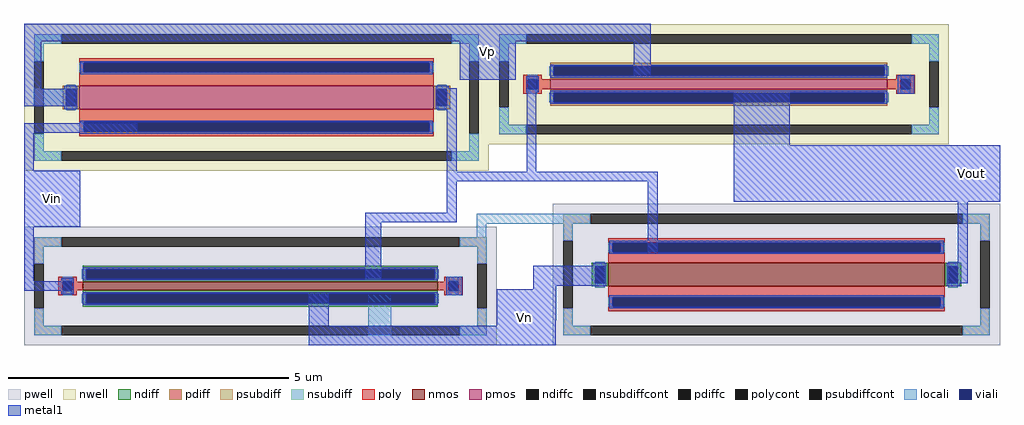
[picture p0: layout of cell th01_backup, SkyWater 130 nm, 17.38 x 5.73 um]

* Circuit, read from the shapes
.subckt th01_backup Vp Vin Vout Vn
XM1 n1 Vin Vn Vn sky130_fd_pr__nfet_01v8 w=6.32 l=0.15
XM2 Vout n1 Vn Vn sky130_fd_pr__nfet_01v8 w=0.42 l=6
XM3 n1 Vin Vp Vp sky130_fd_pr__pfet_01v8 w=0.42 l=6.32
XM4 Vp n1 Vout Vp sky130_fd_pr__pfet_01v8 w=6 l=0.18
.ends

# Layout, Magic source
magic
tech sky130A
magscale 1 2
<< locali >>
rect 488 -334 638 -272
rect 2067 -752 2415 -718
rect 2067 -823 2101 -752
rect 1680 -1150 1762 -1002
<< metal1 >>
rect 2006 -41 2206 -40
rect 454 -103 2687 -41
rect 454 -272 516 -103
rect 2006 -240 2206 -103
rect 2625 -227 2687 -103
rect 454 -334 638 -272
rect 1925 -331 1995 -271
rect 455 -429 857 -395
rect 455 -564 489 -429
rect 454 -764 654 -564
rect 1960 -567 1995 -331
rect 2244 -567 2279 -237
rect 2982 -474 3182 -284
rect 3566 -290 3624 -224
rect 1960 -602 2711 -567
rect 1960 -713 1995 -602
rect 1669 -747 1995 -713
rect 455 -958 489 -764
rect 1669 -947 1727 -747
rect 2676 -853 2711 -602
rect 2982 -674 3930 -474
rect 3780 -902 3816 -674
rect 455 -992 627 -958
rect 1469 -1116 1539 -1001
rect 1958 -1008 2014 -942
rect 2267 -973 2527 -903
rect 3744 -964 3816 -902
rect 2267 -986 2349 -973
rect 2138 -1096 2349 -986
rect 2138 -1116 2348 -1096
rect 1469 -1186 2348 -1116
use sky130_fd_pr__pfet_01v8_E9WT88  XM4
transform 1 0 1282 0 1 -303
box -828 -261 828 261
use sky130_fd_pr__nfet_01v8_JBS6VA  XM5
transform 0 -1 1296 1 0 -975
box -211 -842 211 842
use sky130_fd_pr__nfet_01v8_43TXAA  XM6
transform 1 0 3134 0 1 -934
box -796 -252 796 252
use sky130_fd_pr__pfet_01v8_MGA5QL  XM7
transform 0 -1 2929 1 0 -256
box -214 -819 214 819
<< labels >>
flabel metal1 454 -764 654 -564 0 FreeSans 256 0 0 0 Vin
port 1 nsew
flabel metal1 2138 -1186 2338 -986 0 FreeSans 256 0 0 0 Vn
port 3 nsew
flabel metal1 3730 -674 3930 -474 0 FreeSans 256 0 0 0 Vout
port 2 nsew
flabel metal1 2006 -240 2206 -40 0 FreeSans 256 0 0 0 Vp
port 0 nsew
<< end >>

# cell sky130_fd_pr__pfet_01v8_E9WT88: kit device sky130_fd_pr__pfet_01v8, w 0.42 l 6.323 m 1 nf 1 diffcov 100 polycov 100 guard 1 glc 1 grc 1 gtc 1 gbc 1 tbcov 100 rlcov 100 topc 1 botc 1 poverlap 0 doverlap 1 lmin 0.15 wmin 0.42 compatible {sky130_fd_pr__pfet_01v8 sky130_fd_pr__pfet_01v8_lvt sky130_fd_pr__pfet_01v8_hvt sky130_fd_pr__pfet_g5v0d10v5} full_metal 1 viasrc 100 viadrn 100 viagate 100 viagb 0 viagr 0 viagl 0 viagt 0

# cell sky130_fd_pr__nfet_01v8_JBS6VA: kit device sky130_fd_pr__nfet_01v8, w 6.323 l 0.15 m 1 nf 1 diffcov 100 polycov 100 guard 1 glc 1 grc 1 gtc 1 gbc 1 tbcov 100 rlcov 100 topc 1 botc 1 poverlap 0 doverlap 1 lmin 0.15 wmin 0.42 compatible {sky130_fd_pr__nfet_01v8 sky130_fd_pr__nfet_01v8_lvt sky130_fd_bs_flash__special_sonosfet_star sky130_fd_pr__nfet_g5v0d10v5 sky130_fd_pr__nfet_05v0_nvt sky130_fd_pr__nfet_03v3_nvt} full_metal 1 viasrc 100 viadrn 100 viagate 100 viagb 0 viagr 0 viagl 0 viagt 0

# cell sky130_fd_pr__nfet_01v8_43TXAA: kit device sky130_fd_pr__nfet_01v8, w 0.42 l 6.0 m 1 nf 1 diffcov 100 polycov 100 guard 1 glc 1 grc 1 gtc 1 gbc 1 tbcov 100 rlcov 100 topc 1 botc 1 poverlap 0 doverlap 1 lmin 0.15 wmin 0.42 compatible {sky130_fd_pr__nfet_01v8 sky130_fd_pr__nfet_01v8_lvt sky130_fd_bs_flash__special_sonosfet_star sky130_fd_pr__nfet_g5v0d10v5 sky130_fd_pr__nfet_05v0_nvt sky130_fd_pr__nfet_03v3_nvt} full_metal 1 viasrc 100 viadrn 100 viagate 100 viagb 0 viagr 0 viagl 0 viagt 0

# cell sky130_fd_pr__pfet_01v8_MGA5QL: kit device sky130_fd_pr__pfet_01v8, w 6.0 l 0.18 m 1 nf 1 diffcov 100 polycov 100 guard 1 glc 1 grc 1 gtc 1 gbc 1 tbcov 100 rlcov 100 topc 1 botc 1 poverlap 0 doverlap 1 lmin 0.15 wmin 0.42 compatible {sky130_fd_pr__pfet_01v8 sky130_fd_pr__pfet_01v8_lvt sky130_fd_pr__pfet_01v8_hvt sky130_fd_pr__pfet_g5v0d10v5} full_metal 1 viasrc 100 viadrn 100 viagate 100 viagb 0 viagr 0 viagl 0 viagt 0
